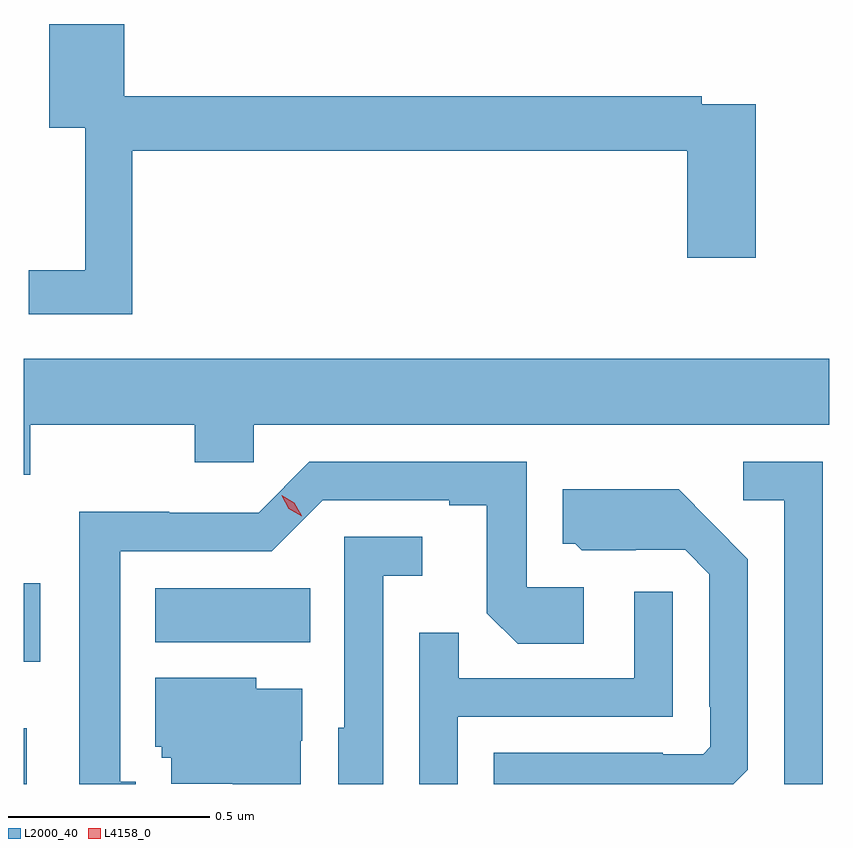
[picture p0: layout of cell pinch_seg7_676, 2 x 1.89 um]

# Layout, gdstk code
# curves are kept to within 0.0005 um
import gdstk
lib = gdstk.Library(unit=1e-6, precision=1e-09)
def R(c, l, rs):  # rectangles x0, y0, x1, y1
    for r in rs: c.add(gdstk.rectangle(r[:2], r[2:], *l))
def P(c, l, *ps):  # polygons
    for p in ps: c.add(gdstk.Polygon(p, *l))
L2000_40 = (2000, 40)
L4158_0 = (4158, 0)

pinch_seg7_676 = lib.new_cell('pinch_seg7_676')
R(pinch_seg7_676, L2000_40, [(137.267,1018.372,137.275,1018.51), (137.267,1018.676,137.308,1018.87), (137.594,1018.724,137.978,1018.858)])
P(pinch_seg7_676, L2000_40, [(137.537,1019.944),(138.914,1019.944),(138.914,1019.679),(139.084,1019.679),(139.084,1020.06),(138.95,1020.06),(138.95,1020.08),(137.517,1020.08),(137.517,1020.259),(137.33,1020.259),(137.33,1020.002),(137.42,1020.002),(137.42,1019.647),(137.28,1019.647),(137.28,1019.538),(137.537,1019.538)],
  [(137.283,1019.264),(137.692,1019.264),(137.692,1019.171),(137.838,1019.171),(137.838,1019.264),(139.267,1019.264),(139.267,1019.428),(137.267,1019.428),(137.267,1019.14),(137.283,1019.14)],
  [(137.545,1018.377),(137.506,1018.377),(137.506,1018.95),(137.883,1018.95),(138.009,1019.076),(138.323,1019.076),(138.323,1019.064),(138.417,1019.064),(138.417,1018.796),(138.493,1018.72),(138.658,1018.72),(138.658,1018.86),(138.516,1018.86),(138.516,1019.172),(137.976,1019.172),(137.85,1019.046),(137.628,1019.046),(137.628,1019.048),(137.405,1019.048),(137.405,1018.372),(137.545,1018.372)],
  [(139.251,1019.172),(139.053,1019.172),(139.053,1019.076),(139.155,1019.076),(139.155,1018.372),(139.251,1018.372)],
  [(139.065,1018.408),(139.065,1018.93),(138.893,1019.104),(138.605,1019.104),(138.605,1018.968),(138.636,1018.968),(138.652,1018.952),(138.786,1018.952),(138.786,1018.953),(138.909,1018.953),(138.969,1018.893),(138.969,1018.564),(138.972,1018.564),(138.972,1018.464),(138.954,1018.446),(138.854,1018.446),(138.854,1018.45),(138.434,1018.45),(138.434,1018.372),(139.029,1018.372)],
  [(138.159,1018.889),(138.256,1018.889),(138.256,1018.986),(138.063,1018.986),(138.063,1018.512),(138.048,1018.512),(138.048,1018.372),(138.159,1018.372)],
  [(138.345,1018.539),(138.879,1018.539),(138.879,1018.849),(138.783,1018.849),(138.783,1018.635),(138.347,1018.635),(138.347,1018.748),(138.249,1018.748),(138.249,1018.372),(138.345,1018.372)],
  [(137.955,1018.48),(137.959,1018.48),(137.959,1018.609),(137.844,1018.609),(137.844,1018.636),(137.594,1018.636),(137.594,1018.464),(137.61,1018.464),(137.61,1018.437),(137.633,1018.437),(137.633,1018.373),(137.785,1018.373),(137.786,1018.372),(137.955,1018.372)])
P(pinch_seg7_676, L4158_0, [(137.957,1019.037),(137.925,1019.056),(137.907,1019.088),(137.907,1019.089),(137.907,1019.089),(137.939,1019.07),(137.957,1019.038),(137.957,1019.037)])

lib.write_gds('pinch_seg7_676.gds')
